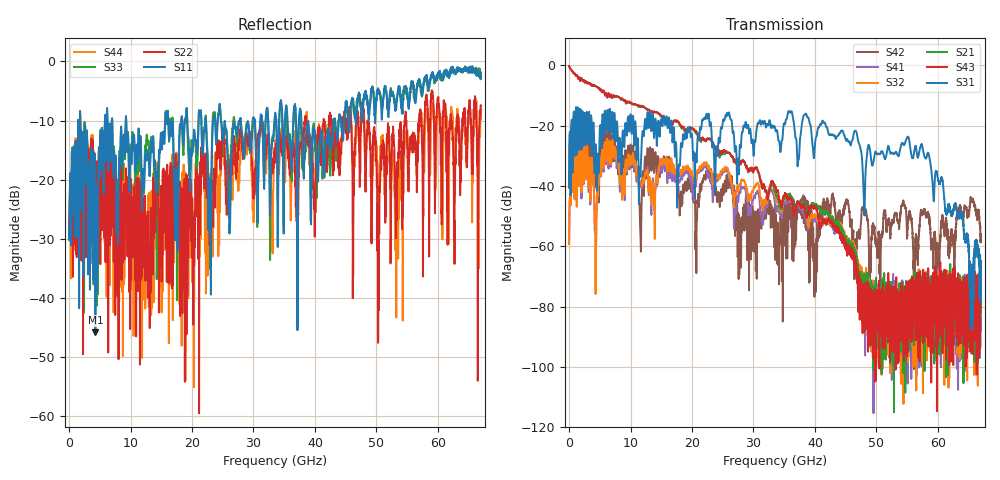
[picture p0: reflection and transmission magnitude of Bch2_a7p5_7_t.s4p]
!Agilent Technologies,N5247A,US51170199,A.09.90.13
!Agilent N5247A: A.09.90.13
!Date: Monday, October 22, 2018 16:06:12
!Correction: S11(Full 4 Port(1,2,3,4))
!S12(Full 4 Port(1,2,3,4))
!S13(Full 4 Port(1,2,3,4))
!S14(Full 4 Port(1,2,3,4))
!S21(Full 4 Port(1,2,3,4))
!S22(Full 4 Port(1,2,3,4))
!S23(Full 4 Port(1,2,3,4))
!S24(Full 4 Port(1,2,3,4))
!S31(Full 4 Port(1,2,3,4))
!S32(Full 4 Port(1,2,3,4))
!S33(Full 4 Port(1,2,3,4))
!S34(Full 4 Port(1,2,3,4))
!S41(Full 4 Port(1,2,3,4))
!S42(Full 4 Port(1,2,3,4))
!S43(Full 4 Port(1,2,3,4))
!S44(Full 4 Port(1,2,3,4))
!S4P File: Measurements: <S11,S12,S13,S14>,
!<S21,S22,S23,S24>,
!<S31,S32,S33,S34>,
!<S41,S42,S43,S44>:
# Hz S  dB  R 50
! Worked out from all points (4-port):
!   6701 points, 10 MHz to 67 GHz, reference 50 ohm
!   strongest paths, dB at 10 MHz, 16.76 GHz, 33.51 GHz, 50.25 GHz, 67 GHz:
!     S31: -40.5, -22.2, -20.8, -29.4, -72.3
!     S43: -0.3, -19.3, -40.0, -85.4, -74.5
!     S21: -0.3, -19.0, -41.6, -87.2, -75.8
!     S32: -59.3, -34.4, -43.0, -81.8, -77.8
!     S41: -59.2, -36.9, -45.8, -78.8, -74.2
!     S42: -40.6, -35.1, -47.5, -60.7, -57.7
!   lowest |S11| = -45.9 dB at 4.279 GHz (marker M1), VSWR 1.01, Z = 50.4 - j0.314 ohm
!   |S11| at or under -10 dB: 1.822 GHz to 5.834 GHz (4.012 GHz wide, 105 % of centre); 9.3 GHz to 15.63 GHz (6.332 GHz wide, 50.8 % of centre); 37.82 GHz to 43.1 GHz (5.28 GHz wide, 13 % of centre)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
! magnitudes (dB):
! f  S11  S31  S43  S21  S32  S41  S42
! 10 MHz  -29.2  -40.5  -0.3  -0.3  -59.3  -59.2  -40.6
! 1.64 GHz  -41.7  -24.8  -4.0  -4.0  -38.2  -38.3  -28.0
! 4.279 GHz  -45.9  -26.4  -6.8  -6.9  -49.6  -48.7  -32.6
! 6.029 GHz  -16.0  -21.4  -9.3  -9.4  -31.0  -32.0  -31.1
! 25.56 GHz  -11.4  -17.0  -28.5  -28.7  -34.1  -34.9  -41.9
! 55.07 GHz  -5.4  -23.8  -80.1  -78.8  -85.4  -75.0  -54.9
! 67 GHz  -1.9  -72.3  -74.5  -75.8  -77.8  -74.2  -57.7
